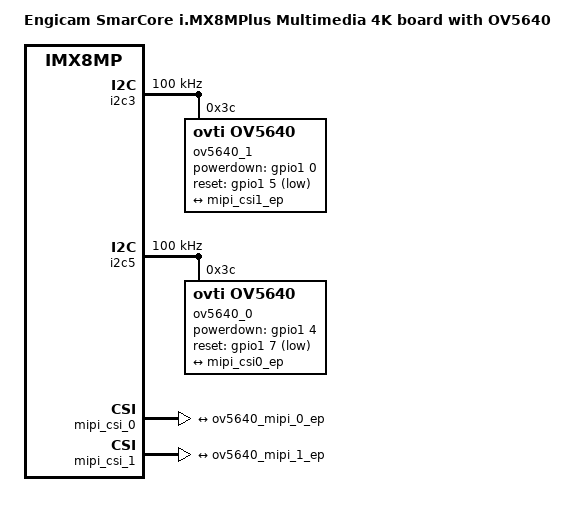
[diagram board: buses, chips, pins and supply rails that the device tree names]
// SPDX-License-Identifier: (GPL-2.0+ OR MIT)
/*
 * Copyright 2022 Engicam
 */

/dts-v1/;

#include "imx8mp-smarcore-multimedia-4k.dts"

/ {
	model = "Engicam SmarCore i.MX8MPlus Multimedia 4K board with OV5640";
	compatible = "engi,imx8-smarcore", "fsl,imx8mp";
};

&i2c3 {
	clock-frequency = <100000>;
	pinctrl-names = "default";
	pinctrl-0 = <&pinctrl_i2c3>;
	status = "okay";
	
	ov5640_1: ov5640_mipi@3c {
		compatible = "ovti,ov5640";
		reg = <0x3c>;
		pinctrl-names = "default";
		pinctrl-0 = <&pinctrl_csi1_pwn>, <&pinctrl_csi1_rst>;
		clocks = <&clk IMX8MP_CLK_IPP_DO_CLKO2>;
		clock-names = "xclk";
		assigned-clocks = <&clk IMX8MP_CLK_IPP_DO_CLKO2>;
		assigned-clock-parents = <&clk IMX8MP_CLK_24M>;
		assigned-clock-rates = <24000000>;
		csi_id = <0>;
		powerdown-gpios = <&gpio1 0 GPIO_ACTIVE_HIGH>;
		reset-gpios = <&gpio1 5 GPIO_ACTIVE_LOW>;
		mclk = <24000000>;
		mclk_source = <0>;
		mipi_csi;
		status = "okay";

		port {
			ov5640_mipi_1_ep: endpoint {
				remote-endpoint = <&mipi_csi1_ep>;
				data-lanes = <1 2>;
				clock-lanes = <0>;
			};
		};
	};	
};

&i2c5 {
	clock-frequency = <100000>;
	pinctrl-names = "default";
	pinctrl-0 = <&pinctrl_i2c5>;
	status = "okay";
	
	ov5640_0: ov5640_mipi@3c {
		compatible = "ovti,ov5640";
		reg = <0x3c>;
		pinctrl-names = "default";
		pinctrl-0 = <&pinctrl_csi0_pwn>, <&pinctrl_csi0_rst>;
		clocks = <&clk IMX8MP_CLK_IPP_DO_CLKO2>;
		clock-names = "xclk";
		assigned-clocks = <&clk IMX8MP_CLK_IPP_DO_CLKO2>;
		assigned-clock-parents = <&clk IMX8MP_CLK_24M>;
		assigned-clock-rates = <24000000>;
		csi_id = <1>;
		powerdown-gpios = <&gpio1 4 GPIO_ACTIVE_HIGH>;
		reset-gpios = <&gpio1 7 GPIO_ACTIVE_LOW>;
		mclk = <24000000>;
		mclk_source = <0>;
		mipi_csi;
		status = "okay";

		port {
			ov5640_mipi_0_ep: endpoint {
				remote-endpoint = <&mipi_csi0_ep>;
				data-lanes = <1 2>;
				clock-lanes = <0>;
			};
		};
	};
};

&mipi_csi_0 {
	#address-cells = <1>;
	#size-cells = <0>;
	status = "okay";

	port@0 {
		reg = <0>;
		mipi_csi0_ep: endpoint {
			remote-endpoint = <&ov5640_mipi_0_ep>;
			data-lanes = <2>;
			csis-hs-settle = <13>;
			csis-clk-settle = <2>;
			csis-wclk;
		};
	};
};

&mipi_csi_1 {
	#address-cells = <1>;
	#size-cells = <0>;
	status = "okay";

	port@1 {
		reg = <1>;
		mipi_csi1_ep: endpoint {
			remote-endpoint = <&ov5640_mipi_1_ep>;
			data-lanes = <2>;
			csis-hs-settle = <13>;
			csis-clk-settle = <2>;
			csis-wclk;
		};
	};
};

&iomuxc {
  	
	pinctrl_i2c5: i2c5grp {
		fsl,pins = <
			MX8MP_IOMUXC_SAI5_RXD0__I2C5_SCL			0x400001c3
			MX8MP_IOMUXC_SAI5_MCLK__I2C5_SDA			0x400001c3
		>;
	};	
  
	pinctrl_i2c3: i2c3grp {
		fsl,pins = <
			MX8MP_IOMUXC_I2C3_SCL__I2C3_SCL		0x400001c2
			MX8MP_IOMUXC_I2C3_SDA__I2C3_SDA		0x400001c2
		>;
	};

	pinctrl_csi0_pwn: csi0_pwn_grp {
		fsl,pins = <
			MX8MP_IOMUXC_GPIO1_IO04__GPIO1_IO04	0x19
		>;
	};
	
	pinctrl_csi1_pwn: csi1_pwn_grp {
		fsl,pins = <
			MX8MP_IOMUXC_GPIO1_IO00__GPIO1_IO00		0x19
		>;
	};
	
	pinctrl_csi0_rst: csi0_rst_grp {
		fsl,pins = <
			MX8MP_IOMUXC_GPIO1_IO07__GPIO1_IO07	0x19
		>;
	};
	

	
	pinctrl_csi1_rst: csi1_rst_grp {
		fsl,pins = <
			MX8MP_IOMUXC_GPIO1_IO05__GPIO1_IO05	0x19
		>;
	};
};
